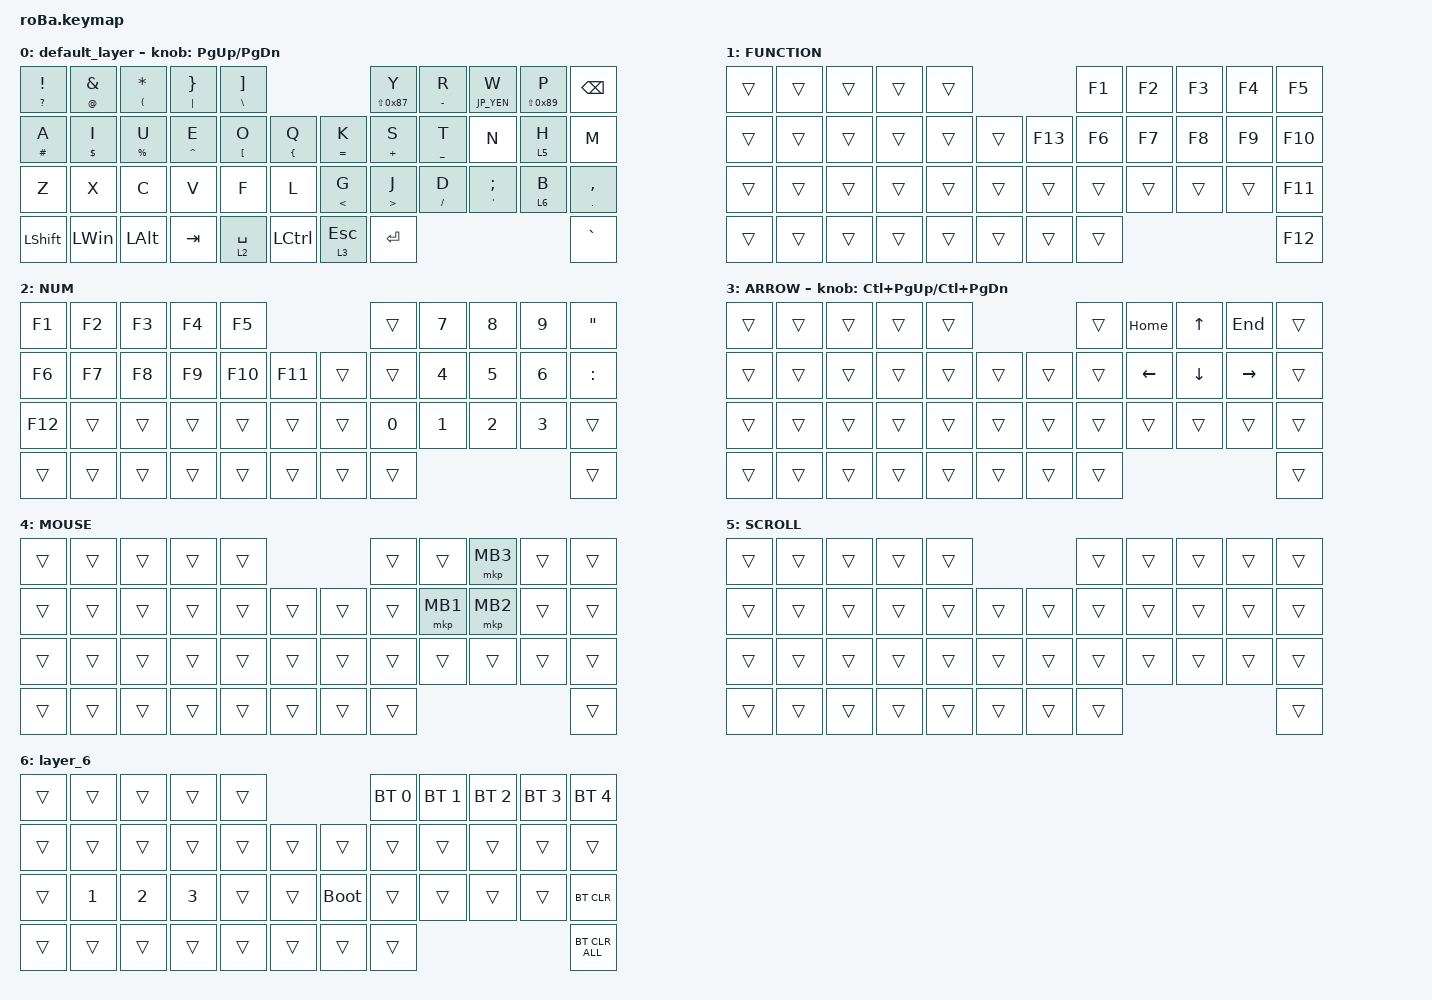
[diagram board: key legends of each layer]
#include <behaviors.dtsi>
#include <dt-bindings/zmk/bt.h>
#include <dt-bindings/zmk/keys.h>
#include <dt-bindings/zmk/pointing.h>

// OS設定を日本語キーボードのまま使用するための変換定義
#define JP_DQUOTE       AT                // "
#define JP_AMPERSAND    CARET             // &
#define JP_QUOTE        AMPERSAND         // '
#define JP_EQUAL        UNDER             // =
#define JP_CARET        EQUAL             // ^
#define JP_YEN          0x89              // ¥
#define JP_PLUS         COLON             // +
#define JP_TILDE        PLUS              // ~
#define JP_PIPE         LS(0x89)          // |
#define JP_AT           LEFT_BRACKET      // @
#define JP_COLON        SINGLE_QUOTE      // :
#define JP_ASTERISK     DOUBLE_QUOTES     // *
#define JP_BACKQUOTE    LEFT_BRACE        // `
#define JP_UNDERSCORE   LS(0x87)          // _
#define JP_LBRACKET     RIGHT_BRACKET     // [
#define JP_RBRACKET     BACKSLASH         // ]
#define JP_LPAREN       ASTERISK          // (
#define JP_RPAREN       LEFT_PARENTHESIS  // )
#define JP_LBRACE       RIGHT_BRACE       // {
#define JP_RBRACE       PIPE              // }
#define JP_KANA         LANGUAGE_1        // かな
#define JP_EISU         LANGUAGE_2        // 英数
#define JP_HANZEN       GRAVE             // 半角/全角

&mt {
    flavor = "balanced";
    quick-tap-ms = <0>;
};

&trackball {
    automouse-layer = <4>;
    scroll-layers = <5>;

    // arrows {
    //     layers = <3>;
    //     bindings =
    //         <&kp RIGHT_ARROW>,
    //         <&kp LEFT_ARROW>,
    //         <&kp UP_ARROW>,
    //         <&kp DOWN_ARROW>;
    //     tick = <10>;
    //     wait-ms = <5>;
    //     tap-ms = <5>;
    // };
};

/ {
    combos { compatible = "zmk,combos"; };

    macros {
        to_layer_0: to_layer_0 {
            compatible = "zmk,behavior-macro-one-param";
            #binding-cells = <1>;
            bindings = <&to 0 &macro_param_1to1 &kp MACRO_PLACEHOLDER>;
            label = "TO_LAYER_0";
        };
    };

    behaviors {
        lt_to_layer_0: lt_to_layer_0 {
            compatible = "zmk,behavior-hold-tap";
            label = "LAYER_TAP_TO_0";
            bindings = <&mo>, <&to_layer_0>;

            #binding-cells = <2>;
            tapping-term-ms = <200>;
        };
    };

    keymap {
        compatible = "zmk,keymap";

        default_layer {
            bindings = <
&mt QUESTION EXCLAMATION  &mt AT_SIGN AMPERSAND  &mt JP_RPAREN JP_LPAREN  &mt PIPE RIGHT_BRACE  &mt BACKSLASH RIGHT_BRACKET                                             &mt JP_UNDERSCORE Y     &mt MINUS R       &mt JP_YEN W             &mt JP_PIPE P  &kp BACKSPACE
&mt HASH A                &mt DOLLAR I           &mt PERCENT U                 &mt CARET E           &mt LEFT_BRACKET O           &mt LEFT_BRACE Q          &mt EQUAL K      &mt PLUS S          &mt UNDERSCORE T  &kp N                     &lt 5 H                &kp M
&kp Z                     &kp X                  &kp C                         &kp V                 &kp F                        &kp L                     &mt LESS_THAN G  &mt GREATER_THAN J  &mt SLASH D       &mt SINGLE_QUOTE SEMICOLON  &lt 6 B              &mt PERIOD COMMA
&kp LEFT_SHIFT            &kp LEFT_WIN           &kp LEFT_ALT                  &kp TAB      &lt 2 SPACE                  &kp LEFT_CONTROL      &lt 3 ESCAPE       &kp ENTER                                                                              &kp GRAVE
            >;

            sensor-bindings = <&inc_dec_kp PG_UP PAGE_DOWN>;
        };

        FUNCTION {
            bindings = <
&trans  &trans  &trans  &trans  &trans                       &kp F1  &kp F2  &kp F3  &kp F4  &kp F5
&trans  &trans  &trans  &trans  &trans  &trans      &kp F13  &kp F6  &kp F7  &kp F8  &kp F9  &kp F10
&trans  &trans  &trans  &trans  &trans  &trans      &trans   &trans  &trans  &trans  &trans  &kp F11
&trans  &trans  &trans  &trans  &trans  &trans      &trans   &trans                          &kp F12
            >;
        };

        NUM {
            bindings = <
&kp F1   &kp F2  &kp F3  &kp F4  &kp F5                        &trans  &kp N7  &kp N8  &kp N9  &kp DOUBLE_QUOTES
&kp F6   &kp F7  &kp F8  &kp F9  &kp F10  &kp F11      &trans  &trans  &kp N4  &kp N5  &kp N6  &kp COLON
&kp F12  &trans  &trans  &trans  &trans   &trans       &trans  &kp N0  &kp N1  &kp N2  &kp N3  &trans
&trans   &trans  &trans  &trans  &trans   &trans       &trans  &trans                          &trans
            >;
        };

        ARROW {
            bindings = <
&trans  &trans  &trans  &trans  &trans                      &trans  &kp HOME  &kp UP    &kp END    &trans
&trans  &trans  &trans  &trans  &trans  &trans      &trans  &trans  &kp LEFT  &kp DOWN  &kp RIGHT  &trans
&trans  &trans  &trans  &trans  &trans  &trans      &trans  &trans  &trans    &trans    &trans     &trans
&trans  &trans  &trans  &trans  &trans  &trans      &trans  &trans                                 &trans
            >;

            sensor-bindings = <&inc_dec_kp LC(PAGE_UP) LC(PAGE_DOWN)>;
        };

        MOUSE {
            bindings = <
&trans  &trans  &trans  &trans  &trans                      &trans  &trans    &mkp MB3  &trans        &trans
&trans  &trans  &trans  &trans  &trans  &trans      &trans  &trans  &mkp MB1  &mkp MB2  &trans     &trans
&trans  &trans  &trans  &trans  &trans  &trans      &trans  &trans  &trans    &trans    &trans        &trans
&trans  &trans  &trans  &trans  &trans  &trans      &trans  &trans                                    &trans
            >;
        };

        SCROLL {
            bindings = <
&trans  &trans  &trans  &trans  &trans                      &trans  &trans  &trans  &trans  &trans
&trans  &trans  &trans  &trans  &trans  &trans      &trans  &trans  &trans  &trans  &trans  &trans
&trans  &trans  &trans  &trans  &trans  &trans      &trans  &trans  &trans  &trans  &trans  &trans
&trans  &trans  &trans  &trans  &trans  &trans      &trans  &trans                          &trans
            >;
        };

        layer_6 {
            bindings = <
&trans  &trans        &trans        &trans        &trans                           &bt BT_SEL 0  &bt BT_SEL 1  &bt BT_SEL 2  &bt BT_SEL 3  &bt BT_SEL 4
&trans  &trans        &trans        &trans        &trans  &trans      &trans       &trans        &trans        &trans        &trans        &trans
&trans  &kp NUMBER_1  &kp NUMBER_2  &kp NUMBER_3  &trans  &trans      &bootloader  &trans        &trans        &trans        &trans        &bt BT_CLR
&trans  &trans        &trans        &trans        &trans  &trans      &trans       &trans                                                  &bt BT_CLR_ALL
            >;
        };
    };
};
